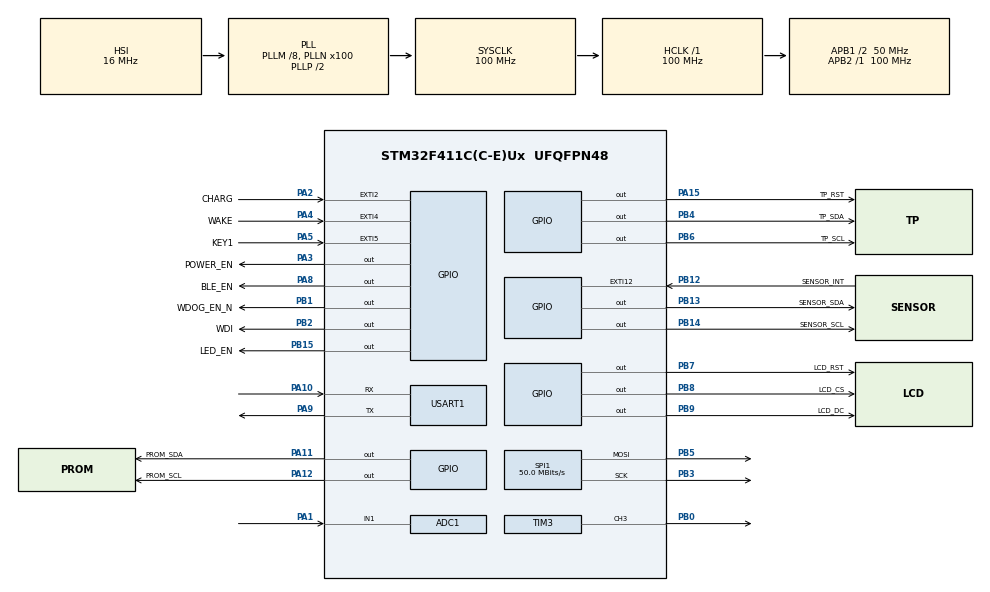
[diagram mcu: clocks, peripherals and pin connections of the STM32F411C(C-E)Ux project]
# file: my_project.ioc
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ADC1.Channel-0\#ChannelRegularConversion=ADC_CHANNEL_1
ADC1.ContinuousConvMode=DISABLE
ADC1.NbrOfConversion=1
ADC1.NbrOfConversionFlag=1
ADC1.ScanConvMode=DISABLE
ADC1.master=1
Dma.Request0=SPI1_TX
Dma.Request1=USART1_RX
Dma.Request2=USART1_TX
Dma.SPI1_TX.0.Direction=DMA_MEMORY_TO_PERIPH
Dma.SPI1_TX.0.FIFOMode=DMA_FIFOMODE_DISABLE
Dma.SPI1_TX.0.Instance=DMA2_Stream2
Dma.SPI1_TX.0.MemDataAlignment=DMA_MDATAALIGN_BYTE
Dma.SPI1_TX.0.MemInc=DMA_MINC_ENABLE
Dma.SPI1_TX.0.Mode=DMA_NORMAL
Dma.SPI1_TX.0.PeriphDataAlignment=DMA_PDATAALIGN_BYTE
Dma.SPI1_TX.0.PeriphInc=DMA_PINC_DISABLE
Dma.SPI1_TX.0.Priority=DMA_PRIORITY_LOW
Dma.USART1_RX.1.Direction=DMA_PERIPH_TO_MEMORY
Dma.USART1_RX.1.FIFOMode=DMA_FIFOMODE_DISABLE
Dma.USART1_RX.1.Instance=DMA2_Stream5
Dma.USART1_RX.1.MemDataAlignment=DMA_MDATAALIGN_BYTE
Dma.USART1_RX.1.MemInc=DMA_MINC_ENABLE
Dma.USART1_RX.1.Mode=DMA_CIRCULAR
Dma.USART1_RX.1.PeriphDataAlignment=DMA_PDATAALIGN_BYTE
Dma.USART1_RX.1.PeriphInc=DMA_PINC_DISABLE
Dma.USART1_RX.1.Priority=DMA_PRIORITY_LOW
Dma.USART1_TX.2.Direction=DMA_MEMORY_TO_PERIPH
Dma.USART1_TX.2.FIFOMode=DMA_FIFOMODE_DISABLE
Dma.USART1_TX.2.Instance=DMA2_Stream7
Dma.USART1_TX.2.MemDataAlignment=DMA_MDATAALIGN_BYTE
Dma.USART1_TX.2.MemInc=DMA_MINC_ENABLE
Dma.USART1_TX.2.Mode=DMA_NORMAL
Dma.USART1_TX.2.PeriphDataAlignment=DMA_PDATAALIGN_BYTE
Dma.USART1_TX.2.PeriphInc=DMA_PINC_DISABLE
Dma.USART1_TX.2.Priority=DMA_PRIORITY_LOW
Mcu.Family=STM32F4
Mcu.Name=STM32F411C(C-E)Ux
Mcu.Package=UFQFPN48
NVIC.DMA2_Stream2_IRQn=true\:5\:0\:true\:false\:true\:false\:true\:true
NVIC.DMA2_Stream5_IRQn=true\:5\:0\:true\:false\:true\:false\:true\:true
NVIC.DMA2_Stream7_IRQn=true\:5\:0\:true\:false\:true\:false\:true\:true
NVIC.EXTI15_10_IRQn=true\:5\:0\:true\:false\:true\:true\:true\:true
NVIC.EXTI2_IRQn=true\:5\:0\:true\:false\:true\:true\:true\:true
NVIC.EXTI4_IRQn=true\:5\:0\:true\:false\:true\:true\:true\:true
NVIC.EXTI9_5_IRQn=true\:5\:0\:true\:false\:true\:true\:true\:true
NVIC.PriorityGroup=NVIC_PRIORITYGROUP_4
NVIC.RTC_WKUP_IRQn=true\:5\:0\:true\:false\:true\:true\:true\:true
NVIC.TIM1_UP_TIM10_IRQn=true\:15\:0\:false\:false\:true\:false\:true\:true
NVIC.TimeBase=TIM1_UP_TIM10_IRQn
NVIC.TimeBaseIP=TIM10
NVIC.USART1_IRQn=true\:5\:0\:true\:false\:true\:false\:true\:true
PA1.Signal=ADCx_IN1
PA10.Mode=Asynchronous
PA10.Signal=USART1_RX
PA11.GPIO_Label=PROM_SDA
PA11.GPIO_ModeDefaultOutputPP=GPIO_MODE_OUTPUT_OD
PA11.GPIO_PuPd=GPIO_NOPULL
PA11.PinState=GPIO_PIN_SET
PA11.Signal=GPIO_Output
PA12.GPIO_Label=PROM_SCL
PA12.GPIO_ModeDefaultOutputPP=GPIO_MODE_OUTPUT_OD
PA12.GPIO_PuPd=GPIO_NOPULL
PA12.PinState=GPIO_PIN_SET
PA12.Signal=GPIO_Output
PA13.Mode=Serial_Wire
PA13.Signal=SYS_JTMS-SWDIO
PA14.Mode=Serial_Wire
PA14.Signal=SYS_JTCK-SWCLK
PA15.GPIO_Label=TP_RST
PA15.GPIO_ModeDefaultOutputPP=GPIO_MODE_OUTPUT_PP
PA15.GPIO_PuPd=GPIO_PULLUP
PA15.PinState=GPIO_PIN_SET
PA15.Signal=GPIO_Output
PA2.GPIO_Label=CHARG
PA2.GPIO_ModeDefaultEXTI=GPIO_MODE_IT_RISING_FALLING
PA2.GPIO_PuPd=GPIO_PULLDOWN
PA2.Signal=GPXTI2
PA3.GPIO_Label=POWER_EN
PA3.PinState=GPIO_PIN_SET
PA3.Signal=GPIO_Output
PA4.GPIO_Label=WAKE
PA4.Signal=GPXTI4
PA5.GPIO_Label=KEY1
PA5.GPIO_ModeDefaultEXTI=GPIO_MODE_IT_FALLING
PA5.GPIO_PuPd=GPIO_PULLUP
PA5.Signal=GPXTI5
PA8.GPIO_Label=BLE_EN
PA8.Signal=GPIO_Output
PA9.Mode=Asynchronous
PA9.Signal=USART1_TX
PB0.Signal=S_TIM3_CH3
PB1.GPIO_Label=WDOG_EN_N
PB1.GPIO_PuPd=GPIO_PULLUP
PB1.PinState=GPIO_PIN_SET
PB1.Signal=GPIO_Output
PB12.GPIO_Label=SENSOR_INT
PB12.GPIO_ModeDefaultEXTI=GPIO_MODE_IT_FALLING
PB12.GPIO_PuPd=GPIO_PULLUP
PB12.Signal=GPXTI12
PB13.GPIO_Label=SENSOR_SDA
PB13.GPIO_ModeDefaultOutputPP=GPIO_MODE_OUTPUT_OD
PB13.GPIO_PuPd=GPIO_NOPULL
PB13.PinState=GPIO_PIN_SET
PB13.Signal=GPIO_Output
PB14.GPIO_Label=SENSOR_SCL
PB14.GPIO_ModeDefaultOutputPP=GPIO_MODE_OUTPUT_PP
PB14.PinState=GPIO_PIN_SET
PB14.Signal=GPIO_Output
PB15.GPIO_Label=LED_EN
PB15.PinState=GPIO_PIN_RESET
PB15.Signal=GPIO_Output
PB2.GPIO_Label=WDI
PB2.Signal=GPIO_Output
PB3.Mode=TX_Only_Simplex_Unidirect_Master
PB3.Signal=SPI1_SCK
PB4.GPIO_Label=TP_SDA
PB4.GPIO_ModeDefaultOutputPP=GPIO_MODE_OUTPUT_OD
PB4.GPIO_PuPd=GPIO_NOPULL
PB4.PinState=GPIO_PIN_SET
PB4.Signal=GPIO_Output
PB5.Mode=TX_Only_Simplex_Unidirect_Master
PB5.Signal=SPI1_MOSI
PB6.GPIO_Label=TP_SCL
PB6.GPIO_ModeDefaultOutputPP=GPIO_MODE_OUTPUT_OD
PB6.GPIO_PuPd=GPIO_NOPULL
PB6.PinState=GPIO_PIN_SET
PB6.Signal=GPIO_Output
PB7.GPIO_Label=LCD_RST
PB7.GPIO_Speed=GPIO_SPEED_FREQ_VERY_HIGH
PB7.PinState=GPIO_PIN_SET
PB7.Signal=GPIO_Output
PB8.GPIO_Label=LCD_CS
PB8.GPIO_ModeDefaultOutputPP=GPIO_MODE_OUTPUT_PP
PB8.GPIO_PuPd=GPIO_NOPULL
PB8.GPIO_Speed=GPIO_SPEED_FREQ_VERY_HIGH
PB8.PinState=GPIO_PIN_SET
PB8.Signal=GPIO_Output
PB9.GPIO_Label=LCD_DC
PB9.GPIO_ModeDefaultOutputPP=GPIO_MODE_OUTPUT_PP
PB9.GPIO_Speed=GPIO_SPEED_FREQ_VERY_HIGH
PB9.PinState=GPIO_PIN_SET
PB9.Signal=GPIO_Output
PC14-OSC32_IN.Mode=LSE-External-Oscillator
PC14-OSC32_IN.Signal=RCC_OSC32_IN
PC15-OSC32_OUT.Mode=LSE-External-Oscillator
PC15-OSC32_OUT.Signal=RCC_OSC32_OUT
ProjectManager.HeapSize=0x200
ProjectManager.StackSize=0x400
ProjectManager.TargetToolchain=CMake
RCC.48MHZClocksFreq_Value=50000000
RCC.AHBFreq_Value=100000000
RCC.APB1CLKDivider=RCC_HCLK_DIV2
RCC.APB1Freq_Value=50000000
RCC.APB1TimFreq_Value=100000000
RCC.APB2Freq_Value=100000000
RCC.APB2TimFreq_Value=100000000
RCC.CortexFreq_Value=100000000
RCC.HCLKFreq_Value=100000000
RCC.HSE_VALUE=25000000
RCC.HSI_VALUE=16000000
RCC.PLLM=8
RCC.PLLN=100
RCC.RCC_RTC_Clock_Source=RCC_RTCCLKSOURCE_LSE
RCC.RCC_RTC_Clock_SourceVirtual=RCC_RTCCLKSOURCE_LSE
RCC.SYSCLKFreq_VALUE=100000000
RCC.SYSCLKSource=RCC_SYSCLKSOURCE_PLLCLK
RCC.VCOOutputFreq_Value=200000000
RTC.WakeUpCounter=2000
SH.ADCx_IN1.0=ADC1_IN1,IN1
SH.S_TIM3_CH3.0=TIM3_CH3,PWM Generation3 CH3
SPI1.CLKPhase=SPI_PHASE_2EDGE
SPI1.CLKPolarity=SPI_POLARITY_HIGH
SPI1.CalculateBaudRate=50.0 MBits/s
SPI1.Direction=SPI_DIRECTION_2LINES
SPI1.Mode=SPI_MODE_MASTER
SPI1.VirtualType=VM_MASTER
TIM3.AutoReloadPreload=TIM_AUTORELOAD_PRELOAD_ENABLE
TIM3.Channel-PWM\ Generation3\ CH3=TIM_CHANNEL_3
TIM3.Period=300
TIM3.Prescaler=99
USART1.VirtualMode=VM_ASYNC
VP_RTC_VS_RTC_Activate.Mode=RTC_Enabled
VP_RTC_VS_RTC_Calendar.Mode=RTC_Calendar
VP_RTC_VS_RTC_WakeUp_intern.Mode=WakeUp
VP_SYS_VS_tim10.Mode=TIM10
VP_TIM3_VS_ClockSourceINT.Mode=Internal
board=custom

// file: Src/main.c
/* USER CODE BEGIN Header */
/**
  ******************************************************************************
  * @file           : main.c
  * @brief          : Main program body
  ******************************************************************************
  * @attention
  *
  * Copyright (c) 2026 STMicroelectronics.
  * All rights reserved.
  *
  * This software is licensed under terms that can be found in the LICENSE file
  * in the root directory of this software component.
  * If no LICENSE file comes with this software, it is provided AS-IS.
  *
  ******************************************************************************
  */
/* USER CODE END Header */
#include "main.h"
#include "adc.h"
#include "dma.h"
#include "rtc.h"
#include "spi.h"
#include "tim.h"
#include "usart.h"
#include "gpio.h"

/* USER CODE BEGIN Includes */
#include "app_entry.h"
#include "lcd.h"
#include "lvgl.h"
#include "lv_port_disp.h"
#include "lv_port_indev.h"
#include "key.h"
/* USER CODE END Includes */

void SystemClock_Config(void);

/* USER CODE BEGIN 0 */
// static void btn_toggle_text_cb(lv_event_t * e)
// {
//     // 从事件用户数据中取出Label对象指针
//     lv_obj_t * label = lv_event_get_user_data(e);

//     const char * cur_text = lv_label_get_text(label);
//     // 在两个文本之间切换
//     if(strcmp(cur_text, "Hello LVGL 8.2!") == 0) {
//         lv_label_set_text(label, "Hello Nice to meet you!");
//     } else {
//         lv_label_set_text(label, "Hello LVGL 8.2!");
//     }
// }

/* USER CODE END 0 */

int main(void)
{

  /* USER CODE BEGIN 1 */

  SCB->VTOR = FLASH_BASE | 0x0C000;  /*冗余安全设计，将向量表偏移地址设为bootloader后*/
  __DSB();
  __ISB();

  /* USER CODE END 1 */

  /* MCU Configuration--------------------------------------------------------*/

  /* Reset of all peripherals, Initializes the Flash interface and the Systick. */
  HAL_Init();

  /* Configure the system clock */
  SystemClock_Config();

  /* Initialize all configured peripherals */
  MX_GPIO_Init();
  MX_DMA_Init();
  MX_ADC1_Init();
  MX_RTC_Init();
  MX_SPI1_Init();
  MX_TIM3_Init();
  MX_USART1_UART_Init();
  /* USER CODE BEGIN 2 */
  UserReady = 0;
  __enable_irq();

  HAL_GPIO_WritePin(WDOG_EN_N_GPIO_Port, WDOG_EN_N_Pin, GPIO_PIN_SET);
  LCD_Init();//初始化lcd
  LCD_Set_Light(80);
  LCD_Open_Light();

  lv_init();//初始化lvgl内核
  lv_port_disp_init();//初始化lvgl显示驱动
  lv_port_indev_init();//初始化lvgl输入设备驱动

  // lv_obj_t * scr = lv_scr_act();  // 获取当前活动屏幕
  // lv_obj_set_style_bg_color(scr, lv_color_hex(0x1A6FB0), 0);
  // lv_obj_t * label = lv_label_create(scr);
  // lv_label_set_text(label, "Hello LVGL 8.2!");
  // lv_obj_set_style_text_color(label, lv_color_hex(0xFF0000), 0);
  // lv_obj_align(label, LV_ALIGN_CENTER, 0, 0);  // 屏幕居中对齐

  // lv_obj_t * btn = lv_btn_create(scr);          // 创建按钮，父对象为当前屏幕
  // lv_obj_set_size(btn, 100, 50);                // 设置按钮尺寸：宽100px，高50px
  // lv_obj_align(btn, LV_ALIGN_CENTER, 0, 60);    // 在Label正下方60px处居中

  // lv_obj_t * btn_label = lv_label_create(btn);  // 给按钮添加文字标签
  // lv_label_set_text(btn_label, "切换文本");
  // lv_obj_center(btn_label);                     // 按钮文字在按钮内居中

  // 绑定点击事件回调
  // lv_obj_add_event_cb(btn, btn_toggle_text_cb, LV_EVENT_CLICKED, label);

  APP_Start();
  /* USER CODE END 2 */

  /* Infinite loop */
  while (1)
  {

  }
}

void SystemClock_Config(void)
{
  RCC_OscInitTypeDef RCC_OscInitStruct = {0};
  RCC_ClkInitTypeDef RCC_ClkInitStruct = {0};

  /** Configure the main internal regulator output voltage
  */
  __HAL_RCC_PWR_CLK_ENABLE();
  __HAL_PWR_VOLTAGESCALING_CONFIG(PWR_REGULATOR_VOLTAGE_SCALE1);

  /** Initializes the RCC Oscillators according to the specified parameters
  * in the RCC_OscInitTypeDef structure.
  */
  RCC_OscInitStruct.OscillatorType = RCC_OSCILLATORTYPE_HSI|RCC_OSCILLATORTYPE_LSE;
  RCC_OscInitStruct.LSEState = RCC_LSE_ON;
  RCC_OscInitStruct.HSIState = RCC_HSI_ON;
  RCC_OscInitStruct.HSICalibrationValue = RCC_HSICALIBRATION_DEFAULT;
  RCC_OscInitStruct.PLL.PLLState = RCC_PLL_ON;
  RCC_OscInitStruct.PLL.PLLSource = RCC_PLLSOURCE_HSI;
  RCC_OscInitStruct.PLL.PLLM = 8;
  RCC_OscInitStruct.PLL.PLLN = 100;
  RCC_OscInitStruct.PLL.PLLP = RCC_PLLP_DIV2;
  RCC_OscInitStruct.PLL.PLLQ = 4;
  if (HAL_RCC_OscConfig(&RCC_OscInitStruct) != HAL_OK)
  {
    Error_Handler();
  }

  /** Initializes the CPU, AHB and APB buses clocks
  */
  RCC_ClkInitStruct.ClockType = RCC_CLOCKTYPE_HCLK|RCC_CLOCKTYPE_SYSCLK
                              |RCC_CLOCKTYPE_PCLK1|RCC_CLOCKTYPE_PCLK2;
  RCC_ClkInitStruct.SYSCLKSource = RCC_SYSCLKSOURCE_PLLCLK;
  RCC_ClkInitStruct.AHBCLKDivider = RCC_SYSCLK_DIV1;
  RCC_ClkInitStruct.APB1CLKDivider = RCC_HCLK_DIV2;
  RCC_ClkInitStruct.APB2CLKDivider = RCC_HCLK_DIV1;

  if (HAL_RCC_ClockConfig(&RCC_ClkInitStruct, FLASH_LATENCY_3) != HAL_OK)
  {
    Error_Handler();
  }
}

void HAL_TIM_PeriodElapsedCallback(TIM_HandleTypeDef *htim)
{
  if (htim->Instance == TIM10)
  {
    HAL_IncTick();
  }
}

void Error_Handler(void)
{
  __disable_irq();
  while (1)
  {
  }
}
